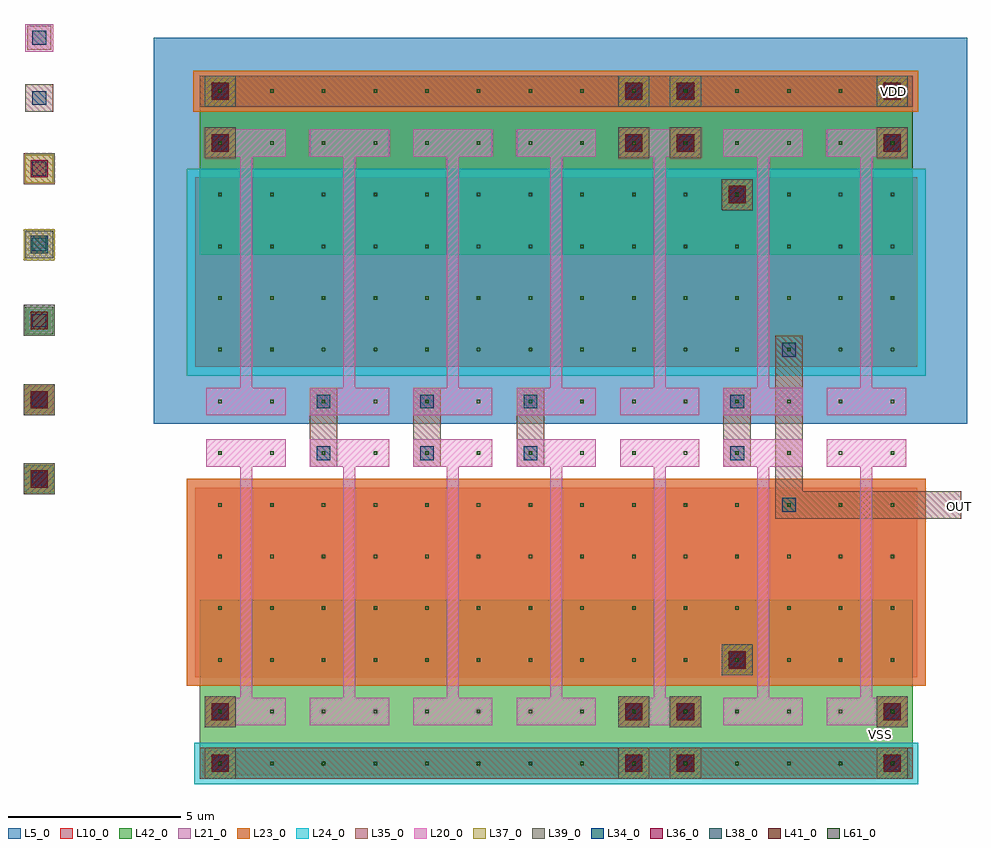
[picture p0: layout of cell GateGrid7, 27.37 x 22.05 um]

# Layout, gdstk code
import gdstk
lib = gdstk.Library(unit=1e-6, precision=1e-09)
def R(c, l, rs):  # rectangles x0, y0, x1, y1
    for r in rs: c.add(gdstk.rectangle(r[:2], r[2:], *l))
def A(c, l, x, y, w, h, nx, ny, dx, dy):  # array of equal rectangles
    R(c, l, [(x+i*dx, y+j*dy, x+i*dx+w, y+j*dy+h) for i in range(nx) for j in range(ny)])
def P(c, l, *ps):  # polygons
    for p in ps: c.add(gdstk.Polygon(p, *l))
L5_0 = (5, 0)
L10_0 = (10, 0)
L20_0 = (20, 0)
L21_0 = (21, 0)
L23_0 = (23, 0)
L24_0 = (24, 0)
L34_0 = (34, 0)
L35_0 = (35, 0)
L36_0 = (36, 0)
L37_0 = (37, 0)
L38_0 = (38, 0)
L39_0 = (39, 0)
L41_0 = (41, 0)
L42_0 = (42, 0)
L61_0 = (61, 0)

gategrid7 = lib.new_cell('GateGrid7')
A(gategrid7, L5_0, -22.4, -7.3, 3, 11.2, 5, 1, 3, 0)
R(gategrid7, L5_0, [(-26.925,-7.3,-22.4,3.9), (-7.4,-7.3,-3.325,3.9)])
A(gategrid7, L10_0, -22.4, -17.5, 3, 0.7, 5, 2, 3, 19.5)
A(gategrid7, L10_0, -22.4, -14.65, 3, 5.5, 5, 2, 3, 9)
R(gategrid7, L10_0, [(-25.5,-17.5,-22.4,-16.8), (-7.4,-17.5,-5,-16.8), (-25.725,-14.65,-22.4,-9.15), (-7.4,-14.65,-4.775,-9.15), (-25.725,-5.65,-22.4,-0.15), (-7.4,-5.65,-4.775,-0.15), (-25.525,2,-22.4,2.7), (-7.4,2,-5,2.7)])
R(gategrid7, L20_0, [(-25.4,-16.05,-24.6,-15.25), (-13.4,-16.05,-12.6,-15.25), (-11.9,-16.05,-11.1,-15.25), (-5.9,-16.05,-5.1,-15.25), (-30.65,-7,-29.85,-6.2), (-25.4,0.45,-24.6,1.25), (-13.4,0.45,-12.6,1.25), (-5.9,0.45,-5.1,1.25), (-30.65,3.5,-29.85,4.3)])
P(gategrid7, L20_0, [(-22.4,-16.05),(-20.1,-16.05),(-20.1,-15.25),(-21.075,-15.25),(-21.075,-8.55),(-20.1,-8.55),(-20.1,-7.75),(-22.4,-7.75),(-22.4,-8.55),(-21.425,-8.55),(-21.425,-15.25),(-22.4,-15.25)],
  [(-25.4,-16.05),(-23.1,-16.05),(-23.1,-15.25),(-24.075,-15.25),(-24.075,-8.55),(-23.1,-8.55),(-23.1,-7.75),(-25.4,-7.75),(-25.4,-8.55),(-24.425,-8.55),(-24.425,-15.25),(-25.4,-15.25)],
  [(-19.4,-16.05),(-17.1,-16.05),(-17.1,-15.25),(-18.075,-15.25),(-18.075,-8.55),(-17.1,-8.55),(-17.1,-7.75),(-19.4,-7.75),(-19.4,-8.55),(-18.425,-8.55),(-18.425,-15.25),(-19.4,-15.25)],
  [(-22.4,-7.05),(-20.1,-7.05),(-20.1,-6.25),(-21.075,-6.25),(-21.075,0.45),(-20.1,0.45),(-20.1,1.25),(-22.4,1.25),(-22.4,0.45),(-21.425,0.45),(-21.425,-6.25),(-22.4,-6.25)],
  [(-25.4,-7.05),(-23.1,-7.05),(-23.1,-6.25),(-24.075,-6.25),(-24.075,0.45),(-23.1,0.45),(-23.1,1.25),(-25.4,1.25),(-25.4,0.45),(-24.425,0.45),(-24.425,-6.25),(-25.4,-6.25)],
  [(-19.4,-7.05),(-17.1,-7.05),(-17.1,-6.25),(-18.075,-6.25),(-18.075,0.45),(-17.1,0.45),(-17.1,1.25),(-19.4,1.25),(-19.4,0.45),(-18.425,0.45),(-18.425,-6.25),(-19.4,-6.25)],
  [(-16.4,-16.05),(-14.1,-16.05),(-14.1,-15.25),(-15.075,-15.25),(-15.075,-8.55),(-14.1,-8.55),(-14.1,-7.75),(-16.4,-7.75),(-16.4,-8.55),(-15.425,-8.55),(-15.425,-15.25),(-16.4,-15.25)],
  [(-13.4,-16.05),(-11.1,-16.05),(-11.1,-15.25),(-12.075,-15.25),(-12.075,-8.55),(-11.1,-8.55),(-11.1,-7.75),(-13.4,-7.75),(-13.4,-8.55),(-12.425,-8.55),(-12.425,-15.25),(-13.4,-15.25)],
  [(-7.4,-16.05),(-5.1,-16.05),(-5.1,-15.25),(-6.075,-15.25),(-6.075,-8.55),(-5.1,-8.55),(-5.1,-7.75),(-7.4,-7.75),(-7.4,-8.55),(-6.425,-8.55),(-6.425,-15.25),(-7.4,-15.25)],
  [(-10.4,-16.05),(-8.1,-16.05),(-8.1,-15.25),(-9.075,-15.25),(-9.075,-8.55),(-8.1,-8.55),(-8.1,-7.75),(-10.4,-7.75),(-10.4,-8.55),(-9.425,-8.55),(-9.425,-15.25),(-10.4,-15.25)],
  [(-13.4,-7.05),(-11.1,-7.05),(-11.1,-6.25),(-12.075,-6.25),(-12.075,0.45),(-11.1,0.45),(-11.1,1.25),(-13.4,1.25),(-13.4,0.45),(-12.425,0.45),(-12.425,-6.25),(-13.4,-6.25)],
  [(-10.4,-7.05),(-8.1,-7.05),(-8.1,-6.25),(-9.075,-6.25),(-9.075,0.45),(-8.1,0.45),(-8.1,1.25),(-10.4,1.25),(-10.4,0.45),(-9.425,0.45),(-9.425,-6.25),(-10.4,-6.25)],
  [(-16.4,-7.05),(-14.1,-7.05),(-14.1,-6.25),(-15.075,-6.25),(-15.075,0.45),(-14.1,0.45),(-14.1,1.25),(-16.4,1.25),(-16.4,0.45),(-15.425,0.45),(-15.425,-6.25),(-16.4,-6.25)],
  [(-7.4,-7.05),(-5.1,-7.05),(-5.1,-6.25),(-6.075,-6.25),(-6.075,0.45),(-5.1,0.45),(-5.1,1.25),(-7.4,1.25),(-7.4,0.45),(-6.425,0.45),(-6.425,-6.25),(-7.4,-6.25)])
A(gategrid7, L21_0, -22.4, -14.9, 3, 6, 5, 1, 3, 0)
A(gategrid7, L21_0, -22.4, 1.75, 3, 1.2, 5, 1, 3, 0)
R(gategrid7, L21_0, [(-25.975,-14.9,-22.4,-8.9), (-7.4,-14.9,-4.525,-8.9), (-25.775,1.75,-22.4,2.95), (-7.4,1.75,-4.75,2.95)])
A(gategrid7, L23_0, -22.4, -14.9, 3, 6, 5, 1, 3, 0)
A(gategrid7, L23_0, -22.4, 1.75, 3, 1.2, 5, 1, 3, 0)
R(gategrid7, L23_0, [(-25.975,-14.9,-22.4,-8.9), (-7.4,-14.9,-4.525,-8.9), (-25.775,1.75,-22.4,2.95), (-7.4,1.75,-4.75,2.95)])
A(gategrid7, L24_0, -22.4, -17.75, 3, 1.2, 5, 1, 3, 0)
A(gategrid7, L24_0, -22.4, -5.9, 3, 6, 5, 1, 3, 0)
R(gategrid7, L24_0, [(-25.75,-17.75,-22.4,-16.55), (-7.4,-17.75,-4.75,-16.55), (-25.975,-5.9,-22.4,0.1), (-7.4,-5.9,-4.525,0.1)])
A(gategrid7, L34_0, -30.45, -4.5, 0.4, 0.4, 1, 3, 0, 2.2)
R(gategrid7, L34_0, [(-25.2,-17.35,-24.8,-16.95), (-25.2,-17.35,-24.8,-16.95), (-25.2,-17.35,-24.8,-16.95), (-25.2,-17.35,-24.8,-16.95), (-13.2,-17.35,-12.8,-16.95), (-13.2,-17.35,-12.8,-16.95), (-13.2,-17.35,-12.8,-16.95), (-13.2,-17.35,-12.8,-16.95), (-11.7,-17.35,-11.3,-16.95), (-11.7,-17.35,-11.3,-16.95), (-11.7,-17.35,-11.3,-16.95), (-11.7,-17.35,-11.3,-16.95), (-5.7,-17.35,-5.3,-16.95), (-5.7,-17.35,-5.3,-16.95), (-5.7,-17.35,-5.3,-16.95), (-5.7,-17.35,-5.3,-16.95), (-25.2,-15.85,-24.8,-15.45), (-25.2,-15.85,-24.8,-15.45), (-25.2,-15.85,-24.8,-15.45), (-25.2,-15.85,-24.8,-15.45), (-25.2,-15.85,-24.8,-15.45), (-25.2,-15.85,-24.8,-15.45), (-13.2,-15.85,-12.8,-15.45), (-13.2,-15.85,-12.8,-15.45), (-13.2,-15.85,-12.8,-15.45), (-13.2,-15.85,-12.8,-15.45), (-13.2,-15.85,-12.8,-15.45), (-13.2,-15.85,-12.8,-15.45), (-11.7,-15.85,-11.3,-15.45), (-11.7,-15.85,-11.3,-15.45), (-11.7,-15.85,-11.3,-15.45), (-11.7,-15.85,-11.3,-15.45), (-11.7,-15.85,-11.3,-15.45), (-11.7,-15.85,-11.3,-15.45), (-5.7,-15.85,-5.3,-15.45), (-5.7,-15.85,-5.3,-15.45), (-5.7,-15.85,-5.3,-15.45), (-5.7,-15.85,-5.3,-15.45), (-5.7,-15.85,-5.3,-15.45), (-5.7,-15.85,-5.3,-15.45), (-10.2,-14.35,-9.8,-13.95), (-10.2,-14.35,-9.8,-13.95), (-10.2,-14.35,-9.8,-13.95), (-10.2,-14.35,-9.8,-13.95), (-8.7,-9.85,-8.3,-9.45), (-30.45,-9.1,-30.05,-8.7), (-30.45,-9.1,-30.05,-8.7), (-30.45,-9.1,-30.05,-8.7), (-30.45,-9.1,-30.05,-8.7), (-22.2,-8.35,-21.8,-7.95), (-22.2,-8.35,-21.8,-7.95), (-19.2,-8.35,-18.8,-7.95), (-19.2,-8.35,-18.8,-7.95), (-16.2,-8.35,-15.8,-7.95), (-16.2,-8.35,-15.8,-7.95), (-10.2,-8.35,-9.8,-7.95), (-10.2,-8.35,-9.8,-7.95), (-22.2,-6.85,-21.8,-6.45), (-22.2,-6.85,-21.8,-6.45), (-19.2,-6.85,-18.8,-6.45), (-19.2,-6.85,-18.8,-6.45), (-16.2,-6.85,-15.8,-6.45), (-16.2,-6.85,-15.8,-6.45), (-10.2,-6.85,-9.8,-6.45), (-10.2,-6.85,-9.8,-6.45), (-30.45,-6.8,-30.05,-6.4), (-30.45,-6.8,-30.05,-6.4), (-30.45,-6.8,-30.05,-6.4), (-30.45,-6.8,-30.05,-6.4), (-30.45,-6.8,-30.05,-6.4), (-30.45,-6.8,-30.05,-6.4), (-8.7,-5.35,-8.3,-4.95), (-10.2,-0.85,-9.8,-0.45), (-10.2,-0.85,-9.8,-0.45), (-10.2,-0.85,-9.8,-0.45), (-10.2,-0.85,-9.8,-0.45), (-25.2,0.65,-24.8,1.05), (-25.2,0.65,-24.8,1.05), (-25.2,0.65,-24.8,1.05), (-25.2,0.65,-24.8,1.05), (-25.2,0.65,-24.8,1.05), (-25.2,0.65,-24.8,1.05), (-13.2,0.65,-12.8,1.05), (-13.2,0.65,-12.8,1.05), (-13.2,0.65,-12.8,1.05), (-13.2,0.65,-12.8,1.05), (-13.2,0.65,-12.8,1.05), (-13.2,0.65,-12.8,1.05), (-11.7,0.65,-11.3,1.05), (-11.7,0.65,-11.3,1.05), (-11.7,0.65,-11.3,1.05), (-11.7,0.65,-11.3,1.05), (-5.7,0.65,-5.3,1.05), (-5.7,0.65,-5.3,1.05), (-5.7,0.65,-5.3,1.05), (-5.7,0.65,-5.3,1.05), (-5.7,0.65,-5.3,1.05), (-5.7,0.65,-5.3,1.05), (-30.45,1.95,-30.05,2.35), (-25.2,2.15,-24.8,2.55), (-25.2,2.15,-24.8,2.55), (-25.2,2.15,-24.8,2.55), (-25.2,2.15,-24.8,2.55), (-13.2,2.15,-12.8,2.55), (-13.2,2.15,-12.8,2.55), (-13.2,2.15,-12.8,2.55), (-13.2,2.15,-12.8,2.55), (-11.7,2.15,-11.3,2.55), (-11.7,2.15,-11.3,2.55), (-11.7,2.15,-11.3,2.55), (-11.7,2.15,-11.3,2.55), (-5.7,2.15,-5.3,2.55), (-5.7,2.15,-5.3,2.55), (-5.7,2.15,-5.3,2.55), (-5.7,2.15,-5.3,2.55), (-30.45,3.7,-30.05,4.1), (-30.45,3.7,-30.05,4.1)])
A(gategrid7, L35_0, -22.4, -17.6, 3, 0.9, 5, 2, 3, 19.5)
A(gategrid7, L35_0, -22.4, -8.55, 0.8, 0.8, 3, 2, 3, 1.5)
A(gategrid7, L35_0, -22.4, -8.55, 0.8, 2.3, 3, 1, 3, 0)
R(gategrid7, L35_0, [(-25.6,-17.6,-22.4,-16.7), (-25.45,-17.6,-24.55,-16.7), (-13.45,-17.6,-12.55,-16.7), (-11.95,-17.6,-11.05,-16.7), (-7.4,-17.6,-4.9,-16.7), (-5.95,-17.6,-5.05,-16.7), (-25.4,-17.55,-24.6,-16.75), (-13.4,-17.55,-12.6,-16.75), (-11.9,-17.55,-11.1,-16.75), (-5.9,-17.55,-5.1,-16.75), (-25.45,-16.1,-24.55,-15.2), (-13.45,-16.1,-12.55,-15.2), (-11.95,-16.1,-11.05,-15.2), (-5.95,-16.1,-5.05,-15.2), (-25.4,-16.05,-24.6,-15.25), (-13.4,-16.05,-12.6,-15.25), (-11.9,-16.05,-11.1,-15.25), (-5.9,-16.05,-5.1,-15.25), (-25.35,-16,-24.65,-15.3), (-13.35,-16,-12.65,-15.3), (-11.85,-16,-11.15,-15.3), (-5.85,-16,-5.15,-15.3), (-10.45,-14.6,-9.55,-13.7), (-10.4,-14.55,-9.6,-13.75), (-8.9,-10.05,-8.1,-9.25), (-8.9,-10.05,-8.1,-4.75), (-8.9,-10.05,-3.5,-9.25), (-30.7,-9.35,-29.8,-8.45), (-30.65,-9.3,-29.85,-8.5), (-10.4,-8.55,-9.6,-7.75), (-10.4,-8.55,-9.6,-6.25), (-30.7,-7.05,-29.8,-6.15), (-10.4,-7.05,-9.6,-6.25), (-30.65,-7,-29.85,-6.2), (-30.6,-6.95,-29.9,-6.25), (-8.9,-5.55,-8.1,-4.75), (-10.45,-1.1,-9.55,-0.2), (-10.4,-1.05,-9.6,-0.25), (-30.7,-0.35,-29.8,0.55), (-25.45,0.4,-24.55,1.3), (-13.45,0.4,-12.55,1.3), (-11.95,0.4,-11.05,1.3), (-5.95,0.4,-5.05,1.3), (-25.4,0.45,-24.6,1.25), (-13.4,0.45,-12.6,1.25), (-11.9,0.45,-11.1,1.25), (-5.9,0.45,-5.1,1.25), (-25.35,0.5,-24.65,1.2), (-13.35,0.5,-12.65,1.2), (-5.85,0.5,-5.15,1.2), (-30.65,1.75,-29.85,2.55), (-25.6,1.9,-22.4,2.8), (-25.45,1.9,-24.55,2.8), (-13.45,1.9,-12.55,2.8), (-11.95,1.9,-11.05,2.8), (-7.4,1.9,-4.9,2.8), (-5.95,1.9,-5.05,2.8), (-25.4,1.95,-24.6,2.75), (-13.4,1.95,-12.6,2.75), (-11.9,1.95,-11.1,2.75), (-5.9,1.95,-5.1,2.75), (-30.6,3.55,-29.9,4.25)])
R(gategrid7, L36_0, [(-25.25,-17.4,-24.75,-16.9), (-13.25,-17.4,-12.75,-16.9), (-11.75,-17.4,-11.25,-16.9), (-5.75,-17.4,-5.25,-16.9), (-25.25,-15.9,-24.75,-15.4), (-13.25,-15.9,-12.75,-15.4), (-11.75,-15.9,-11.25,-15.4), (-5.75,-15.9,-5.25,-15.4), (-10.25,-14.4,-9.75,-13.9), (-30.5,-9.15,-30,-8.65), (-30.5,-6.85,-30,-6.35), (-10.25,-0.9,-9.75,-0.4), (-30.5,-0.15,-30,0.35), (-25.25,0.6,-24.75,1.1), (-13.25,0.6,-12.75,1.1), (-11.75,0.6,-11.25,1.1), (-5.75,0.6,-5.25,1.1), (-25.25,2.1,-24.75,2.6), (-13.25,2.1,-12.75,2.6), (-11.75,2.1,-11.25,2.6), (-5.75,2.1,-5.25,2.6)])
R(gategrid7, L37_0, [(-25.45,-17.6,-24.55,-16.7), (-13.45,-17.6,-12.55,-16.7), (-11.95,-17.6,-11.05,-16.7), (-5.95,-17.6,-5.05,-16.7), (-25.4,-17.55,-24.6,-16.75), (-13.4,-17.55,-12.6,-16.75), (-11.9,-17.55,-11.1,-16.75), (-5.9,-17.55,-5.1,-16.75), (-25.45,-16.1,-24.55,-15.2), (-13.45,-16.1,-12.55,-15.2), (-11.95,-16.1,-11.05,-15.2), (-5.95,-16.1,-5.05,-15.2), (-25.4,-16.05,-24.6,-15.25), (-13.4,-16.05,-12.6,-15.25), (-11.9,-16.05,-11.1,-15.25), (-5.9,-16.05,-5.1,-15.25), (-10.45,-14.6,-9.55,-13.7), (-10.4,-14.55,-9.6,-13.75), (-30.7,-9.35,-29.8,-8.45), (-30.65,-9.3,-29.85,-8.5), (-30.7,-7.05,-29.8,-6.15), (-30.65,-7,-29.85,-6.2), (-30.7,-2.55,-29.8,-1.65), (-10.45,-1.1,-9.55,-0.2), (-10.4,-1.05,-9.6,-0.25), (-30.65,-0.3,-29.85,0.5), (-25.45,0.4,-24.55,1.3), (-13.45,0.4,-12.55,1.3), (-11.95,0.4,-11.05,1.3), (-5.95,0.4,-5.05,1.3), (-25.4,0.45,-24.6,1.25), (-13.4,0.45,-12.6,1.25), (-11.9,0.45,-11.1,1.25), (-5.9,0.45,-5.1,1.25), (-25.45,1.9,-24.55,2.8), (-13.45,1.9,-12.55,2.8), (-11.95,1.9,-11.05,2.8), (-5.95,1.9,-5.05,2.8), (-25.4,1.95,-24.6,2.75), (-13.4,1.95,-12.6,2.75), (-11.9,1.95,-11.1,2.75), (-5.9,1.95,-5.1,2.75)])
R(gategrid7, L38_0, [(-25.25,-17.4,-24.75,-16.9), (-13.25,-17.4,-12.75,-16.9), (-11.75,-17.4,-11.25,-16.9), (-5.75,-17.4,-5.25,-16.9), (-25.25,-15.9,-24.75,-15.4), (-13.25,-15.9,-12.75,-15.4), (-11.75,-15.9,-11.25,-15.4), (-5.75,-15.9,-5.25,-15.4), (-10.25,-14.4,-9.75,-13.9), (-30.5,-9.15,-30,-8.65), (-30.5,-6.85,-30,-6.35), (-30.5,-2.35,-30,-1.85), (-10.25,-0.9,-9.75,-0.4), (-25.25,0.6,-24.75,1.1), (-13.25,0.6,-12.75,1.1), (-11.75,0.6,-11.25,1.1), (-5.75,0.6,-5.25,1.1), (-25.25,2.1,-24.75,2.6), (-13.25,2.1,-12.75,2.6), (-11.75,2.1,-11.25,2.6), (-5.75,2.1,-5.25,2.6)])
A(gategrid7, L39_0, -30.7, -9.35, 0.9, 0.9, 1, 3, 0, 2.3)
R(gategrid7, L39_0, [(-25.45,-17.6,-24.55,-16.7), (-13.45,-17.6,-12.55,-16.7), (-11.95,-17.6,-11.05,-16.7), (-5.95,-17.6,-5.05,-16.7), (-25.4,-17.55,-24.6,-16.75), (-13.4,-17.55,-12.6,-16.75), (-11.9,-17.55,-11.1,-16.75), (-5.9,-17.55,-5.1,-16.75), (-25.45,-16.1,-24.55,-15.2), (-13.45,-16.1,-12.55,-15.2), (-11.95,-16.1,-11.05,-15.2), (-5.95,-16.1,-5.05,-15.2), (-25.4,-16.05,-24.6,-15.25), (-13.4,-16.05,-12.6,-15.25), (-11.9,-16.05,-11.1,-15.25), (-5.9,-16.05,-5.1,-15.25), (-10.45,-14.6,-9.55,-13.7), (-10.4,-14.55,-9.6,-13.75), (-30.65,-9.3,-29.85,-8.5), (-30.65,-7,-29.85,-6.2), (-30.65,-2.5,-29.85,-1.7), (-10.45,-1.1,-9.55,-0.2), (-10.4,-1.05,-9.6,-0.25), (-25.45,0.4,-24.55,1.3), (-13.45,0.4,-12.55,1.3), (-11.95,0.4,-11.05,1.3), (-5.95,0.4,-5.05,1.3), (-25.4,0.45,-24.6,1.25), (-13.4,0.45,-12.6,1.25), (-11.9,0.45,-11.1,1.25), (-5.9,0.45,-5.1,1.25), (-25.45,1.9,-24.55,2.8), (-13.45,1.9,-12.55,2.8), (-11.95,1.9,-11.05,2.8), (-5.95,1.9,-5.05,2.8), (-25.4,1.95,-24.6,2.75), (-13.4,1.95,-12.6,2.75), (-11.9,1.95,-11.1,2.75), (-5.9,1.95,-5.1,2.75)])
A(gategrid7, L41_0, -30.5, -9.15, 0.5, 0.5, 1, 3, 0, 2.3)
R(gategrid7, L41_0, [(-25.25,-17.4,-24.75,-16.9), (-13.25,-17.4,-12.75,-16.9), (-11.75,-17.4,-11.25,-16.9), (-5.75,-17.4,-5.25,-16.9), (-25.25,-15.9,-24.75,-15.4), (-13.25,-15.9,-12.75,-15.4), (-11.75,-15.9,-11.25,-15.4), (-5.75,-15.9,-5.25,-15.4), (-10.25,-14.4,-9.75,-13.9), (-10.25,-0.9,-9.75,-0.4), (-25.25,0.6,-24.75,1.1), (-13.25,0.6,-12.75,1.1), (-11.75,0.6,-11.25,1.1), (-5.75,0.6,-5.25,1.1), (-25.25,2.1,-24.75,2.6), (-13.25,2.1,-12.75,2.6), (-11.75,2.1,-11.25,2.6), (-5.75,2.1,-5.25,2.6)])
A(gategrid7, L42_0, -22.4, -17.6, 3, 5.2, 5, 2, 3, 15.2)
A(gategrid7, L42_0, -30.65, -9.3, 0.8, 0.8, 1, 3, 0, 2.3)
R(gategrid7, L42_0, [(-25.6,-17.6,-22.4,-12.4), (-7.4,-17.6,-4.9,-12.4), (-25.4,-17.55,-24.6,-16.75), (-13.4,-17.55,-12.6,-16.75), (-11.9,-17.55,-11.1,-16.75), (-5.9,-17.55,-5.1,-16.75), (-25.4,-16.05,-24.6,-15.25), (-13.4,-16.05,-12.6,-15.25), (-11.9,-16.05,-11.1,-15.25), (-5.9,-16.05,-5.1,-15.25), (-10.4,-14.55,-9.6,-13.75), (-25.6,-2.4,-22.4,2.8), (-7.4,-2.4,-4.9,2.8), (-10.4,-1.05,-9.6,-0.25), (-25.4,0.45,-24.6,1.25), (-13.4,0.45,-12.6,1.25), (-11.9,0.45,-11.1,1.25), (-5.9,0.45,-5.1,1.25), (-25.4,1.95,-24.6,2.75), (-13.4,1.95,-12.6,2.75), (-11.9,1.95,-11.1,2.75), (-5.9,1.95,-5.1,2.75)])
A(gategrid7, L61_0, -8.55, -17.2, 0.1, 0.1, 1, 6, 0, 1.5)
A(gategrid7, L61_0, -8.55, -17.2, 0.1, 0.1, 3, 5, 1.5, 1.5)
A(gategrid7, L61_0, -8.55, -5.2, 0.1, 0.1, 1, 6, 0, 1.5)
A(gategrid7, L61_0, -8.55, -5.2, 0.1, 0.1, 3, 6, 1.5, 1.5)
R(gategrid7, L61_0, [(-25.05,-17.2,-24.95,-17.1), (-25.05,-17.2,-24.95,-17.1), (-23.55,-17.2,-23.45,-17.1), (-23.55,-17.2,-23.45,-17.1), (-22.05,-17.2,-21.95,-17.1), (-22.05,-17.2,-21.95,-17.1), (-20.55,-17.2,-20.45,-17.1), (-20.55,-17.2,-20.45,-17.1), (-19.05,-17.2,-18.95,-17.1), (-19.05,-17.2,-18.95,-17.1), (-17.55,-17.2,-17.45,-17.1), (-17.55,-17.2,-17.45,-17.1), (-16.05,-17.2,-15.95,-17.1), (-16.05,-17.2,-15.95,-17.1), (-14.55,-17.2,-14.45,-17.1), (-14.55,-17.2,-14.45,-17.1), (-13.05,-17.2,-12.95,-17.1), (-13.05,-17.2,-12.95,-17.1), (-11.55,-17.2,-11.45,-17.1), (-11.55,-17.2,-11.45,-17.1), (-10.05,-17.2,-9.95,-17.1), (-10.05,-17.2,-9.95,-17.1), (-25.05,-15.7,-24.95,-15.6), (-25.05,-15.7,-24.95,-15.6), (-23.55,-15.7,-23.45,-15.6), (-23.55,-15.7,-23.45,-15.6), (-22.05,-15.7,-21.95,-15.6), (-22.05,-15.7,-21.95,-15.6), (-20.55,-15.7,-20.45,-15.6), (-20.55,-15.7,-20.45,-15.6), (-19.05,-15.7,-18.95,-15.6), (-19.05,-15.7,-18.95,-15.6), (-17.55,-15.7,-17.45,-15.6), (-17.55,-15.7,-17.45,-15.6), (-16.05,-15.7,-15.95,-15.6), (-16.05,-15.7,-15.95,-15.6), (-14.55,-15.7,-14.45,-15.6), (-14.55,-15.7,-14.45,-15.6), (-13.05,-15.7,-12.95,-15.6), (-13.05,-15.7,-12.95,-15.6), (-11.55,-15.7,-11.45,-15.6), (-11.55,-15.7,-11.45,-15.6), (-10.05,-15.7,-9.95,-15.6), (-10.05,-15.7,-9.95,-15.6), (-25.05,-14.2,-24.95,-14.1), (-25.05,-14.2,-24.95,-14.1), (-23.55,-14.2,-23.45,-14.1), (-23.55,-14.2,-23.45,-14.1), (-22.05,-14.2,-21.95,-14.1), (-22.05,-14.2,-21.95,-14.1), (-20.55,-14.2,-20.45,-14.1), (-20.55,-14.2,-20.45,-14.1), (-19.05,-14.2,-18.95,-14.1), (-19.05,-14.2,-18.95,-14.1), (-17.55,-14.2,-17.45,-14.1), (-17.55,-14.2,-17.45,-14.1), (-16.05,-14.2,-15.95,-14.1), (-16.05,-14.2,-15.95,-14.1), (-14.55,-14.2,-14.45,-14.1), (-14.55,-14.2,-14.45,-14.1), (-13.05,-14.2,-12.95,-14.1), (-13.05,-14.2,-12.95,-14.1), (-11.55,-14.2,-11.45,-14.1), (-11.55,-14.2,-11.45,-14.1), (-10.05,-14.2,-9.95,-14.1), (-10.05,-14.2,-9.95,-14.1), (-25.05,-12.7,-24.95,-12.6), (-25.05,-12.7,-24.95,-12.6), (-23.55,-12.7,-23.45,-12.6), (-23.55,-12.7,-23.45,-12.6), (-22.05,-12.7,-21.95,-12.6), (-22.05,-12.7,-21.95,-12.6), (-20.55,-12.7,-20.45,-12.6), (-20.55,-12.7,-20.45,-12.6), (-19.05,-12.7,-18.95,-12.6), (-19.05,-12.7,-18.95,-12.6), (-17.55,-12.7,-17.45,-12.6), (-17.55,-12.7,-17.45,-12.6), (-16.05,-12.7,-15.95,-12.6), (-16.05,-12.7,-15.95,-12.6), (-14.55,-12.7,-14.45,-12.6), (-14.55,-12.7,-14.45,-12.6), (-13.05,-12.7,-12.95,-12.6), (-13.05,-12.7,-12.95,-12.6), (-11.55,-12.7,-11.45,-12.6), (-11.55,-12.7,-11.45,-12.6), (-10.05,-12.7,-9.95,-12.6), (-10.05,-12.7,-9.95,-12.6), (-25.05,-11.2,-24.95,-11.1), (-25.05,-11.2,-24.95,-11.1), (-23.55,-11.2,-23.45,-11.1), (-23.55,-11.2,-23.45,-11.1), (-22.05,-11.2,-21.95,-11.1), (-22.05,-11.2,-21.95,-11.1), (-20.55,-11.2,-20.45,-11.1), (-20.55,-11.2,-20.45,-11.1), (-19.05,-11.2,-18.95,-11.1), (-19.05,-11.2,-18.95,-11.1), (-17.55,-11.2,-17.45,-11.1), (-17.55,-11.2,-17.45,-11.1), (-16.05,-11.2,-15.95,-11.1), (-16.05,-11.2,-15.95,-11.1), (-14.55,-11.2,-14.45,-11.1), (-14.55,-11.2,-14.45,-11.1), (-13.05,-11.2,-12.95,-11.1), (-13.05,-11.2,-12.95,-11.1), (-11.55,-11.2,-11.45,-11.1), (-11.55,-11.2,-11.45,-11.1), (-10.05,-11.2,-9.95,-11.1), (-10.05,-11.2,-9.95,-11.1), (-25.05,-9.7,-24.95,-9.6), (-25.05,-9.7,-24.95,-9.6), (-25.05,-9.7,-24.95,-9.6), (-23.55,-9.7,-23.45,-9.6), (-23.55,-9.7,-23.45,-9.6), (-23.55,-9.7,-23.45,-9.6), (-22.05,-9.7,-21.95,-9.6), (-22.05,-9.7,-21.95,-9.6), (-22.05,-9.7,-21.95,-9.6), (-20.55,-9.7,-20.45,-9.6), (-20.55,-9.7,-20.45,-9.6), (-20.55,-9.7,-20.45,-9.6), (-19.05,-9.7,-18.95,-9.6), (-19.05,-9.7,-18.95,-9.6), (-19.05,-9.7,-18.95,-9.6), (-17.55,-9.7,-17.45,-9.6), (-17.55,-9.7,-17.45,-9.6), (-17.55,-9.7,-17.45,-9.6), (-16.05,-9.7,-15.95,-9.6), (-16.05,-9.7,-15.95,-9.6), (-16.05,-9.7,-15.95,-9.6), (-14.55,-9.7,-14.45,-9.6), (-14.55,-9.7,-14.45,-9.6), (-14.55,-9.7,-14.45,-9.6), (-13.05,-9.7,-12.95,-9.6), (-13.05,-9.7,-12.95,-9.6), (-13.05,-9.7,-12.95,-9.6), (-11.55,-9.7,-11.45,-9.6), (-11.55,-9.7,-11.45,-9.6), (-11.55,-9.7,-11.45,-9.6), (-10.05,-9.7,-9.95,-9.6), (-10.05,-9.7,-9.95,-9.6), (-10.05,-9.7,-9.95,-9.6), (-8.55,-9.7,-8.45,-9.6), (-8.55,-9.7,-8.45,-9.6), (-7.05,-9.7,-6.95,-9.6), (-7.05,-9.7,-6.95,-9.6), (-5.55,-9.7,-5.45,-9.6), (-5.55,-9.7,-5.45,-9.6), (-25.05,-8.2,-24.95,-8.1), (-25.05,-8.2,-24.95,-8.1), (-25.05,-8.2,-24.95,-8.1), (-23.55,-8.2,-23.45,-8.1), (-23.55,-8.2,-23.45,-8.1), (-23.55,-8.2,-23.45,-8.1), (-22.05,-8.2,-21.95,-8.1), (-22.05,-8.2,-21.95,-8.1), (-22.05,-8.2,-21.95,-8.1), (-20.55,-8.2,-20.45,-8.1), (-20.55,-8.2,-20.45,-8.1), (-20.55,-8.2,-20.45,-8.1), (-19.05,-8.2,-18.95,-8.1), (-19.05,-8.2,-18.95,-8.1), (-19.05,-8.2,-18.95,-8.1), (-17.55,-8.2,-17.45,-8.1), (-17.55,-8.2,-17.45,-8.1), (-17.55,-8.2,-17.45,-8.1), (-16.05,-8.2,-15.95,-8.1), (-16.05,-8.2,-15.95,-8.1), (-16.05,-8.2,-15.95,-8.1), (-14.55,-8.2,-14.45,-8.1), (-14.55,-8.2,-14.45,-8.1), (-14.55,-8.2,-14.45,-8.1), (-13.05,-8.2,-12.95,-8.1), (-13.05,-8.2,-12.95,-8.1), (-13.05,-8.2,-12.95,-8.1), (-11.55,-8.2,-11.45,-8.1), (-11.55,-8.2,-11.45,-8.1), (-11.55,-8.2,-11.45,-8.1), (-10.05,-8.2,-9.95,-8.1), (-10.05,-8.2,-9.95,-8.1), (-10.05,-8.2,-9.95,-8.1), (-8.55,-8.2,-8.45,-8.1), (-8.55,-8.2,-8.45,-8.1), (-8.55,-8.2,-8.45,-8.1), (-7.05,-8.2,-6.95,-8.1), (-7.05,-8.2,-6.95,-8.1), (-5.55,-8.2,-5.45,-8.1), (-5.55,-8.2,-5.45,-8.1), (-25.05,-6.7,-24.95,-6.6), (-25.05,-6.7,-24.95,-6.6), (-25.05,-6.7,-24.95,-6.6), (-23.55,-6.7,-23.45,-6.6), (-23.55,-6.7,-23.45,-6.6), (-23.55,-6.7,-23.45,-6.6), (-22.05,-6.7,-21.95,-6.6), (-22.05,-6.7,-21.95,-6.6), (-22.05,-6.7,-21.95,-6.6), (-20.55,-6.7,-20.45,-6.6), (-20.55,-6.7,-20.45,-6.6), (-20.55,-6.7,-20.45,-6.6), (-19.05,-6.7,-18.95,-6.6), (-19.05,-6.7,-18.95,-6.6), (-19.05,-6.7,-18.95,-6.6), (-17.55,-6.7,-17.45,-6.6), (-17.55,-6.7,-17.45,-6.6), (-17.55,-6.7,-17.45,-6.6), (-16.05,-6.7,-15.95,-6.6), (-16.05,-6.7,-15.95,-6.6), (-16.05,-6.7,-15.95,-6.6), (-14.55,-6.7,-14.45,-6.6), (-14.55,-6.7,-14.45,-6.6), (-14.55,-6.7,-14.45,-6.6), (-13.05,-6.7,-12.95,-6.6), (-13.05,-6.7,-12.95,-6.6), (-13.05,-6.7,-12.95,-6.6), (-11.55,-6.7,-11.45,-6.6), (-11.55,-6.7,-11.45,-6.6), (-11.55,-6.7,-11.45,-6.6), (-10.05,-6.7,-9.95,-6.6), (-10.05,-6.7,-9.95,-6.6), (-10.05,-6.7,-9.95,-6.6), (-8.55,-6.7,-8.45,-6.6), (-8.55,-6.7,-8.45,-6.6), (-8.55,-6.7,-8.45,-6.6), (-7.05,-6.7,-6.95,-6.6), (-7.05,-6.7,-6.95,-6.6), (-5.55,-6.7,-5.45,-6.6), (-5.55,-6.7,-5.45,-6.6), (-25.05,-5.2,-24.95,-5.1), (-25.05,-5.2,-24.95,-5.1), (-25.05,-5.2,-24.95,-5.1), (-23.55,-5.2,-23.45,-5.1), (-23.55,-5.2,-23.45,-5.1), (-23.55,-5.2,-23.45,-5.1), (-22.05,-5.2,-21.95,-5.1), (-22.05,-5.2,-21.95,-5.1), (-22.05,-5.2,-21.95,-5.1), (-20.55,-5.2,-20.45,-5.1), (-20.55,-5.2,-20.45,-5.1), (-20.55,-5.2,-20.45,-5.1), (-19.05,-5.2,-18.95,-5.1), (-19.05,-5.2,-18.95,-5.1), (-19.05,-5.2,-18.95,-5.1), (-17.55,-5.2,-17.45,-5.1), (-17.55,-5.2,-17.45,-5.1), (-17.55,-5.2,-17.45,-5.1), (-16.05,-5.2,-15.95,-5.1), (-16.05,-5.2,-15.95,-5.1), (-16.05,-5.2,-15.95,-5.1), (-14.55,-5.2,-14.45,-5.1), (-14.55,-5.2,-14.45,-5.1), (-14.55,-5.2,-14.45,-5.1), (-13.05,-5.2,-12.95,-5.1), (-13.05,-5.2,-12.95,-5.1), (-13.05,-5.2,-12.95,-5.1), (-11.55,-5.2,-11.45,-5.1), (-11.55,-5.2,-11.45,-5.1), (-11.55,-5.2,-11.45,-5.1), (-10.05,-5.2,-9.95,-5.1), (-10.05,-5.2,-9.95,-5.1), (-10.05,-5.2,-9.95,-5.1), (-8.55,-5.2,-8.45,-5.1), (-25.05,-3.7,-24.95,-3.6), (-25.05,-3.7,-24.95,-3.6), (-23.55,-3.7,-23.45,-3.6), (-23.55,-3.7,-23.45,-3.6), (-22.05,-3.7,-21.95,-3.6), (-22.05,-3.7,-21.95,-3.6), (-20.55,-3.7,-20.45,-3.6), (-20.55,-3.7,-20.45,-3.6), (-19.05,-3.7,-18.95,-3.6), (-19.05,-3.7,-18.95,-3.6), (-17.55,-3.7,-17.45,-3.6), (-17.55,-3.7,-17.45,-3.6), (-16.05,-3.7,-15.95,-3.6), (-16.05,-3.7,-15.95,-3.6), (-14.55,-3.7,-14.45,-3.6), (-14.55,-3.7,-14.45,-3.6), (-13.05,-3.7,-12.95,-3.6), (-13.05,-3.7,-12.95,-3.6), (-11.55,-3.7,-11.45,-3.6), (-11.55,-3.7,-11.45,-3.6), (-10.05,-3.7,-9.95,-3.6), (-10.05,-3.7,-9.95,-3.6), (-25.05,-2.2,-24.95,-2.1), (-25.05,-2.2,-24.95,-2.1), (-23.55,-2.2,-23.45,-2.1), (-23.55,-2.2,-23.45,-2.1), (-22.05,-2.2,-21.95,-2.1), (-22.05,-2.2,-21.95,-2.1), (-20.55,-2.2,-20.45,-2.1), (-20.55,-2.2,-20.45,-2.1), (-19.05,-2.2,-18.95,-2.1), (-19.05,-2.2,-18.95,-2.1), (-17.55,-2.2,-17.45,-2.1), (-17.55,-2.2,-17.45,-2.1), (-16.05,-2.2,-15.95,-2.1), (-16.05,-2.2,-15.95,-2.1), (-14.55,-2.2,-14.45,-2.1), (-14.55,-2.2,-14.45,-2.1), (-13.05,-2.2,-12.95,-2.1), (-13.05,-2.2,-12.95,-2.1), (-11.55,-2.2,-11.45,-2.1), (-11.55,-2.2,-11.45,-2.1), (-10.05,-2.2,-9.95,-2.1), (-10.05,-2.2,-9.95,-2.1), (-25.05,-0.7,-24.95,-0.6), (-25.05,-0.7,-24.95,-0.6), (-23.55,-0.7,-23.45,-0.6), (-23.55,-0.7,-23.45,-0.6), (-22.05,-0.7,-21.95,-0.6), (-22.05,-0.7,-21.95,-0.6), (-20.55,-0.7,-20.45,-0.6), (-20.55,-0.7,-20.45,-0.6), (-19.05,-0.7,-18.95,-0.6), (-19.05,-0.7,-18.95,-0.6), (-17.55,-0.7,-17.45,-0.6), (-17.55,-0.7,-17.45,-0.6), (-16.05,-0.7,-15.95,-0.6), (-16.05,-0.7,-15.95,-0.6), (-14.55,-0.7,-14.45,-0.6), (-14.55,-0.7,-14.45,-0.6), (-13.05,-0.7,-12.95,-0.6), (-13.05,-0.7,-12.95,-0.6), (-11.55,-0.7,-11.45,-0.6), (-11.55,-0.7,-11.45,-0.6), (-10.05,-0.7,-9.95,-0.6), (-10.05,-0.7,-9.95,-0.6), (-25.05,0.8,-24.95,0.9), (-25.05,0.8,-24.95,0.9), (-23.55,0.8,-23.45,0.9), (-23.55,0.8,-23.45,0.9), (-22.05,0.8,-21.95,0.9), (-22.05,0.8,-21.95,0.9), (-20.55,0.8,-20.45,0.9), (-20.55,0.8,-20.45,0.9), (-19.05,0.8,-18.95,0.9), (-19.05,0.8,-18.95,0.9), (-17.55,0.8,-17.45,0.9), (-17.55,0.8,-17.45,0.9), (-16.05,0.8,-15.95,0.9), (-16.05,0.8,-15.95,0.9), (-14.55,0.8,-14.45,0.9), (-14.55,0.8,-14.45,0.9), (-13.05,0.8,-12.95,0.9), (-13.05,0.8,-12.95,0.9), (-11.55,0.8,-11.45,0.9), (-11.55,0.8,-11.45,0.9), (-10.05,0.8,-9.95,0.9), (-10.05,0.8,-9.95,0.9), (-25.05,2.3,-24.95,2.4), (-25.05,2.3,-24.95,2.4), (-23.55,2.3,-23.45,2.4), (-23.55,2.3,-23.45,2.4), (-22.05,2.3,-21.95,2.4), (-22.05,2.3,-21.95,2.4), (-20.55,2.3,-20.45,2.4), (-20.55,2.3,-20.45,2.4), (-19.05,2.3,-18.95,2.4), (-19.05,2.3,-18.95,2.4), (-17.55,2.3,-17.45,2.4), (-17.55,2.3,-17.45,2.4), (-16.05,2.3,-15.95,2.4), (-16.05,2.3,-15.95,2.4), (-14.55,2.3,-14.45,2.4), (-14.55,2.3,-14.45,2.4), (-13.05,2.3,-12.95,2.4), (-13.05,2.3,-12.95,2.4), (-11.55,2.3,-11.45,2.4), (-11.55,2.3,-11.45,2.4), (-10.05,2.3,-9.95,2.4), (-10.05,2.3,-9.95,2.4)])
gategrid7.add(gdstk.Label('contato met1-met2', (-33.15,0.2), layer=61, texttype=0))
gategrid7.add(gdstk.Label('contato diff-met1', (-33.25,2.25), layer=61, texttype=0))
gategrid7.add(gdstk.Label('contato met3-met4', (-33.25,-4.35), layer=61, texttype=0))
gategrid7.add(gdstk.Label('contato poly-met1', (-33.15,4), layer=61, texttype=0))
gategrid7.add(gdstk.Label('contato gate-met4-isolamento', (-33.35,-6.45), layer=61, texttype=0))
gategrid7.add(gdstk.Label('contato met2-met3', (-33.15,-2), layer=61, texttype=0))
gategrid7.add(gdstk.Label('contato bulk-met4-isolamento', (-33.3,-8.75), layer=61, texttype=0))
gategrid7.add(gdstk.Label('VSS', (-5.85,-16.325), layer=605, texttype=0))
gategrid7.add(gdstk.Label('OUT', (-3.55,-9.7), layer=602, texttype=0))
gategrid7.add(gdstk.Label('VDD', (-5.475,2.35), layer=605, texttype=0))

lib.write_gds('GateGrid7.gds')
